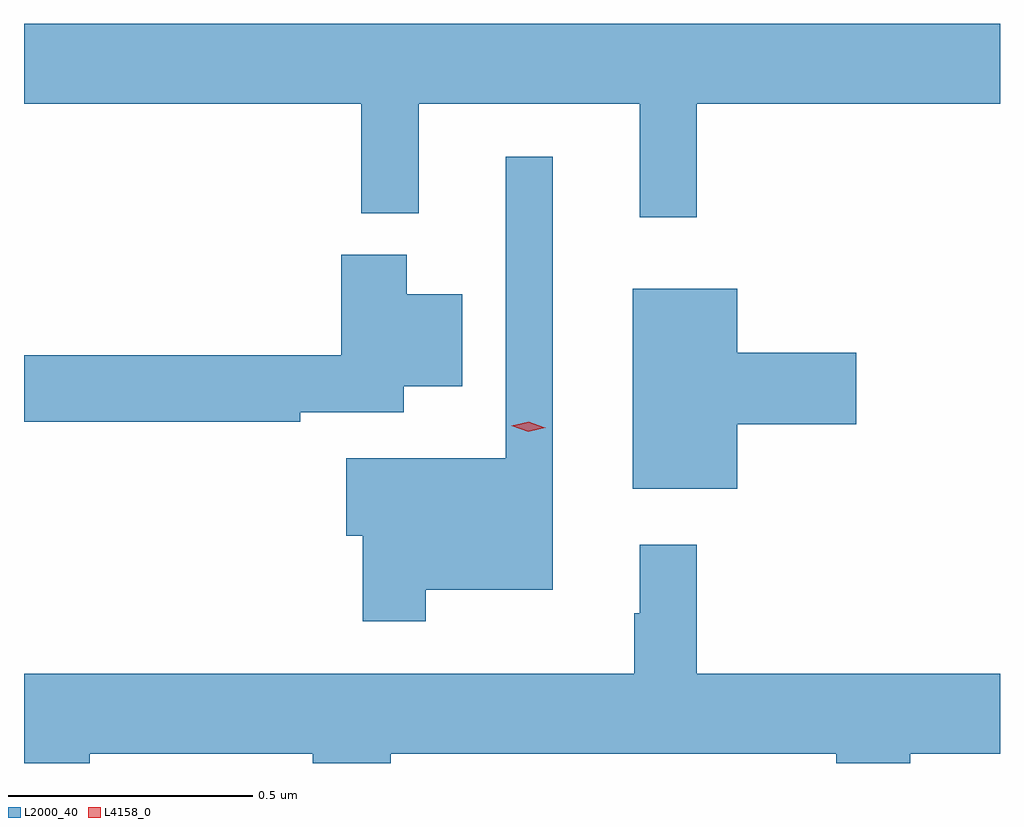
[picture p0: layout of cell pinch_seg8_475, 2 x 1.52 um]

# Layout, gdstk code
import gdstk
lib = gdstk.Library(unit=1e-6, precision=1e-09)
def P(c, l, *ps):  # polygons
    for p in ps: c.add(gdstk.Polygon(p, *l))
L2000_40 = (2000, 40)
L4158_0 = (4158, 0)

pinch_seg8_475 = lib.new_cell('pinch_seg8_475')
P(pinch_seg8_475, L2000_40, [(121.229,1133.816),(121.85,1133.816),(121.85,1133.98),(119.85,1133.98),(119.85,1133.816),(120.541,1133.816),(120.541,1133.591),(120.659,1133.591),(120.659,1133.816),(121.112,1133.816),(121.112,1133.583),(121.229,1133.583)],
  [(120.673,1132.82),(120.934,1132.82),(120.934,1133.707),(120.837,1133.707),(120.837,1133.089),(120.51,1133.089),(120.51,1132.931),(120.544,1132.931),(120.544,1132.755),(120.673,1132.755)],
  [(120.416,1133.184),(120.628,1133.184),(120.628,1133.237),(120.748,1133.237),(120.748,1133.425),(120.634,1133.425),(120.634,1133.506),(120.5,1133.506),(120.5,1133.3),(119.85,1133.3),(119.85,1133.164),(120.416,1133.164)],
  [(121.312,1133.159),(121.555,1133.159),(121.555,1133.306),(121.312,1133.306),(121.312,1133.437),(121.097,1133.437),(121.097,1133.027),(121.312,1133.027)],
  [(119.985,1132.484),(120.442,1132.484),(120.442,1132.464),(120.602,1132.464),(120.602,1132.484),(121.514,1132.484),(121.514,1132.464),(121.666,1132.464),(121.666,1132.484),(121.85,1132.484),(121.85,1132.648),(121.229,1132.648),(121.229,1132.912),(121.112,1132.912),(121.112,1132.772),(121.101,1132.772),(121.101,1132.648),(119.85,1132.648),(119.85,1132.464),(119.985,1132.464)])
P(pinch_seg8_475, L4158_0, [(120.883,1133.144),(120.848,1133.156),(120.848,1133.156),(120.848,1133.156),(120.884,1133.164),(120.918,1133.152),(120.919,1133.152),(120.918,1133.152)])

lib.write_gds('pinch_seg8_475.gds')
